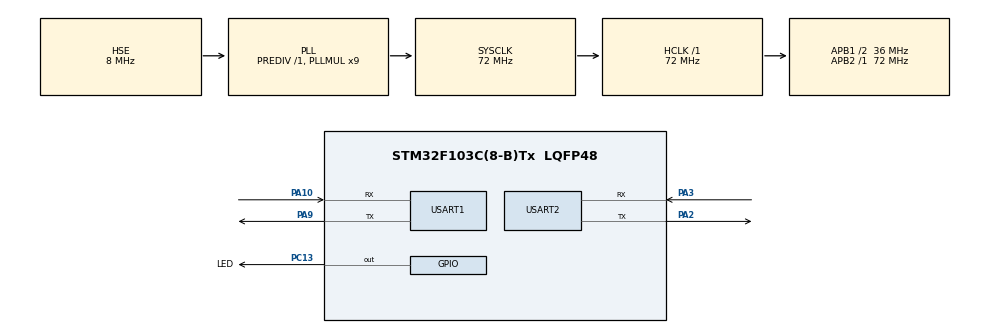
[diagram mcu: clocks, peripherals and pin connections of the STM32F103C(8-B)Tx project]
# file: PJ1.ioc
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Mcu.Family=STM32F1
Mcu.Name=STM32F103C(8-B)Tx
Mcu.Package=LQFP48
NVIC.PriorityGroup=NVIC_PRIORITYGROUP_4
NVIC.USART2_IRQn=true\:0\:0\:false\:false\:true\:true\:true
PA10.Mode=Asynchronous
PA10.Signal=USART1_RX
PA13.Mode=Serial_Wire
PA13.Signal=SYS_JTMS-SWDIO
PA14.Mode=Serial_Wire
PA14.Signal=SYS_JTCK-SWCLK
PA2.Mode=Asynchronous
PA2.Signal=USART2_TX
PA3.GPIO_PuPd=GPIO_PULLUP
PA3.Mode=Asynchronous
PA3.Signal=USART2_RX
PA9.Mode=Asynchronous
PA9.Signal=USART1_TX
PC13-TAMPER-RTC.GPIO_Label=LED
PC13-TAMPER-RTC.Signal=GPIO_Output
PD0-OSC_IN.Mode=HSE-External-Oscillator
PD0-OSC_IN.Signal=RCC_OSC_IN
PD1-OSC_OUT.Mode=HSE-External-Oscillator
PD1-OSC_OUT.Signal=RCC_OSC_OUT
ProjectManager.HeapSize=0x200
ProjectManager.StackSize=0x400
ProjectManager.TargetToolchain=MDK-ARM V5.32
RCC.AHBFreq_Value=72000000
RCC.APB1CLKDivider=RCC_HCLK_DIV2
RCC.APB1Freq_Value=36000000
RCC.APB1TimFreq_Value=72000000
RCC.APB2Freq_Value=72000000
RCC.APB2TimFreq_Value=72000000
RCC.HCLKFreq_Value=72000000
RCC.PLLMUL=RCC_PLL_MUL9
RCC.PLLSourceVirtual=RCC_PLLSOURCE_HSE
RCC.SYSCLKFreq_VALUE=72000000
RCC.SYSCLKSource=RCC_SYSCLKSOURCE_PLLCLK
RCC.USBFreq_Value=72000000
USART1.VirtualMode=VM_ASYNC
USART2.VirtualMode=VM_ASYNC
board=custom

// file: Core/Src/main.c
/* USER CODE BEGIN Header */
/**
 ******************************************************************************
 * @file           : main.c
 * @brief          : Main program body
 ******************************************************************************
 * @attention
 *
 * <h2><center>&copy; Copyright (c) 2026 STMicroelectronics.
 * All rights reserved.</center></h2>
 *
 * This software component is licensed by ST under BSD 3-Clause license,
 * the "License"; You may not use this file except in compliance with the
 * License. You may obtain a copy of the License at:
 *                        opensource.org/licenses/BSD-3-Clause
 *
 ******************************************************************************
 */
/* USER CODE END Header */
#include "main.h"
#include "usart.h"
#include "gpio.h"

/* USER CODE BEGIN Includes */
#include <stdio.h>
#include <string.h>
#include "bsp_dwt.h"
#include "bsp_i2c.h"
#include "bsp_oled.h"
#include "bsp_sht30.h"
#include "app_frame.h"
#include "bsp_esp_uart.h"
#include "bsp_esp.h"
/* USER CODE END Includes */

/* USER CODE BEGIN PV */
i2c_soft_t bus_oled = {GPIOB, GPIO_PIN_8, GPIOB, GPIO_PIN_9};
i2c_soft_t bus_sht30 = {GPIOB, GPIO_PIN_6, GPIOB, GPIO_PIN_7};
/* USER CODE END PV */

void SystemClock_Config(void);

int main(void)
{

  /* MCU Configuration--------------------------------------------------------*/

  /* Reset of all peripherals, Initializes the Flash interface and the Systick. */
  HAL_Init();

  /* Configure the system clock */
  SystemClock_Config();

  /* Initialize all configured peripherals */
  MX_GPIO_Init();
  MX_USART1_UART_Init();
  MX_USART2_UART_Init();
  /* USER CODE BEGIN 2 */
  dwt_init();
  i2c_soft_init(&bus_oled);
  i2c_soft_init(&bus_sht30);

  oled_init(&bus_oled);
  sht30_init(&bus_sht30);
  esp_uart_init();
  esp_init();
  oled_clear();
  oled_show_string(0, 16, "T x10:", 16);
  oled_show_string(0, 32, "H x10:", 16);
  oled_refresh();

  uint32_t t_read = 0;          // 上次读取传感器的时间
  uint32_t t_led = 0;           // 上次翻转 LED 的时间
  uint32_t disp_t = 0xFFFFFFFF; // 上次显示的温度
  uint32_t disp_h = 0xFFFFFFFF; // 上次显示的湿度

  uint32_t t_report = 0;   // 上次上报的时刻
  uint32_t seq      = 0;   // 上报包号
  int32_t  t_x100   = 0;   // 温度 ×100（定点）
  int32_t  h_x100   = 0;   // 湿度 ×100（定点）
  uint8_t  s_valid  = 0;   // 是否已有有效数据
  /* USER CODE END 2 */

  /* Infinite loop */
  while (1)
  {

    /* USER CODE BEGIN 3 */
    uint32_t now = HAL_GetTick();

    /* ---- 1. 传感器：1 秒触发一次采集，状态机每轮推进 ---- */
    if (now - t_read >= 1000)
    {
      t_read = now;
      sht30_start();
    }
    sht30_task();

    /* ---- 2. 温湿度显示：只在数值变化时重画 ---- */
    float t, h;
    if (sht30_get(&t, &h) == 0)
    {
      t_x100=(int32_t)(t*100.0f+(t>=0?0.5f:-0.5f));
      h_x100=(int32_t)(h*100.0f+(h>=0?0.5f:-0.5f));
      s_valid=1;

      uint32_t t10 = (uint32_t)(t * 10);
      uint32_t h10 = (uint32_t)(h * 10);
      if (t10 != disp_t || h10 != disp_h)
      {
        disp_t = t10;
        disp_h = h10;
        oled_show_num(48, 16, t10, 3, 16);
        oled_show_num(48, 32, h10, 3, 16);
        oled_refresh();
      }
    }

    /* ---- 3. ESP 状态机：必须每轮调用 ---- */
    esp_task();
    /*上报*/
    if(now-t_report>=1000){
      t_report=now;
      if(s_valid){
        char buf[96];   /* 必须 >= 48：app_frame_json 在 out_sz<48 时直接返回 -1 */
        seq++;
        int n=app_frame_json(buf,sizeof(buf),seq,t_x100,h_x100);
        if(n>0){
          esp_send((uint8_t*)buf,(uint16_t)n);
        }
      }
    }

    /* ---- 5. 已发包数（只在变化时重画） ---- */
    static uint32_t last_tx = 0xFFFFFFFF;
    uint32_t tx = esp_get_ok_count();
    if (tx != last_tx)
    {
      last_tx = tx;
      oled_show_num(24, 0, tx, 5, 16);
      oled_refresh();
    }

    /* ---- 6. WiFi 状态行：只在状态变化时重画 ---- */
    static esp_state_t last_esp = (esp_state_t)0xFF;
    if (esp_get_state() != last_esp)
    {
      last_esp = esp_get_state();
      char sst[16];
      snprintf(sst, sizeof sst, "WiFi:%-5s", esp_state_str());
      oled_show_string(0, 48, sst, 12);
      oled_refresh();
    }

    /* ---- 7. LED 心跳：500ms 翻转 ---- */
    if (now - t_led >= 500)
    {
      t_led = now;
      HAL_GPIO_TogglePin(LED_GPIO_Port, LED_Pin);
    }
  }
  /* USER CODE END 3 */
}

void SystemClock_Config(void)
{
  RCC_OscInitTypeDef RCC_OscInitStruct = {0};
  RCC_ClkInitTypeDef RCC_ClkInitStruct = {0};

  /** Initializes the RCC Oscillators according to the specified parameters
   * in the RCC_OscInitTypeDef structure.
   */
  RCC_OscInitStruct.OscillatorType = RCC_OSCILLATORTYPE_HSE;
  RCC_OscInitStruct.HSEState = RCC_HSE_ON;
  RCC_OscInitStruct.HSEPredivValue = RCC_HSE_PREDIV_DIV1;
  RCC_OscInitStruct.HSIState = RCC_HSI_ON;
  RCC_OscInitStruct.PLL.PLLState = RCC_PLL_ON;
  RCC_OscInitStruct.PLL.PLLSource = RCC_PLLSOURCE_HSE;
  RCC_OscInitStruct.PLL.PLLMUL = RCC_PLL_MUL9;
  if (HAL_RCC_OscConfig(&RCC_OscInitStruct) != HAL_OK)
  {
    Error_Handler();
  }
  /** Initializes the CPU, AHB and APB buses clocks
   */
  RCC_ClkInitStruct.ClockType = RCC_CLOCKTYPE_HCLK | RCC_CLOCKTYPE_SYSCLK | RCC_CLOCKTYPE_PCLK1 | RCC_CLOCKTYPE_PCLK2;
  RCC_ClkInitStruct.SYSCLKSource = RCC_SYSCLKSOURCE_PLLCLK;
  RCC_ClkInitStruct.AHBCLKDivider = RCC_SYSCLK_DIV1;
  RCC_ClkInitStruct.APB1CLKDivider = RCC_HCLK_DIV2;
  RCC_ClkInitStruct.APB2CLKDivider = RCC_HCLK_DIV1;

  if (HAL_RCC_ClockConfig(&RCC_ClkInitStruct, FLASH_LATENCY_2) != HAL_OK)
  {
    Error_Handler();
  }
}

/* USER CODE BEGIN 4 */
/**重定向 printf 到 USART1
 *已勾 MicroLIB 无需处理半主机模式
 */
int fputc(int ch, FILE *f)
{
  uint8_t byte = (uint8_t)ch;
  HAL_UART_Transmit(&huart1, &byte, 1, 100);
  return ch;
}
/* USER CODE END 4 */

void Error_Handler(void)
{
  __disable_irq();
  while (1)
  {
  }
}

/************************ (C) COPYRIGHT STMicroelectronics *****END OF FILE****/
